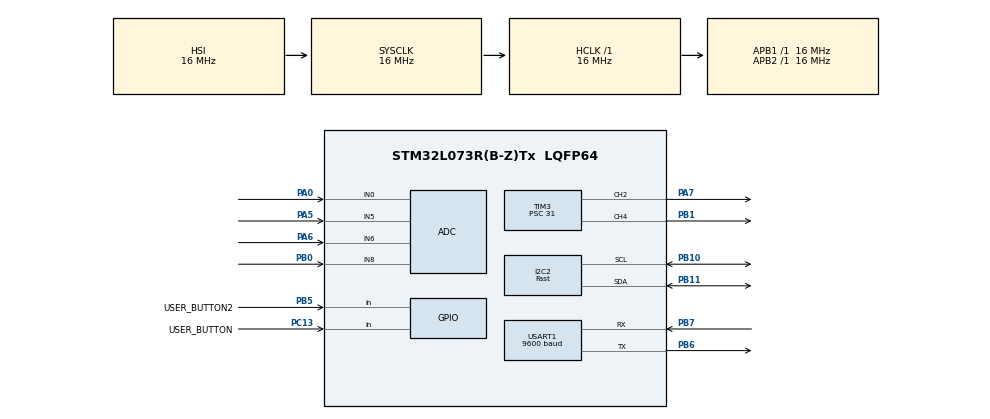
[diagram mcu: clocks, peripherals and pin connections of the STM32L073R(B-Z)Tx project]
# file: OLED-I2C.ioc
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ADC.ClockPrescaler=ADC_CLOCK_ASYNC_DIV1
ADC.DMAContinuousRequests=ENABLE
ADC.ExternalTrigConv=ADC_EXTERNALTRIGCONV_T2_TRGO
ADC.SamplingTime=ADC_SAMPLETIME_19CYCLES_5
Dma.ADC.1.Direction=DMA_PERIPH_TO_MEMORY
Dma.ADC.1.Instance=DMA1_Channel1
Dma.ADC.1.MemDataAlignment=DMA_MDATAALIGN_HALFWORD
Dma.ADC.1.MemInc=DMA_MINC_ENABLE
Dma.ADC.1.Mode=DMA_CIRCULAR
Dma.ADC.1.PeriphDataAlignment=DMA_PDATAALIGN_HALFWORD
Dma.ADC.1.PeriphInc=DMA_PINC_DISABLE
Dma.ADC.1.Priority=DMA_PRIORITY_LOW
Dma.I2C2_TX.0.Direction=DMA_MEMORY_TO_PERIPH
Dma.I2C2_TX.0.Instance=DMA1_Channel4
Dma.I2C2_TX.0.MemDataAlignment=DMA_MDATAALIGN_BYTE
Dma.I2C2_TX.0.MemInc=DMA_MINC_ENABLE
Dma.I2C2_TX.0.Mode=DMA_NORMAL
Dma.I2C2_TX.0.PeriphDataAlignment=DMA_PDATAALIGN_BYTE
Dma.I2C2_TX.0.PeriphInc=DMA_PINC_DISABLE
Dma.I2C2_TX.0.Priority=DMA_PRIORITY_VERY_HIGH
Dma.Request0=I2C2_TX
Dma.Request1=ADC
I2C2.I2C_Speed_Mode=I2C_Fast
I2C2.Timing=0x0010061A
Mcu.Family=STM32L0
Mcu.Name=STM32L073R(B-Z)Tx
Mcu.Package=LQFP64
NVIC.DMA1_Channel1_IRQn=true\:0\:0\:false\:false\:true\:false\:true\:true
NVIC.DMA1_Channel4_5_6_7_IRQn=true\:0\:0\:false\:false\:true\:false\:true\:true
NVIC.I2C2_IRQn=true\:0\:0\:false\:false\:true\:true\:true\:true
NVIC.TIM2_IRQn=true\:0\:0\:false\:false\:true\:true\:true\:true
NVIC.USART1_IRQn=true\:0\:0\:false\:false\:true\:true\:true\:true
PA0.Mode=IN0
PA0.Signal=ADC_IN0
PA13.Mode=Serial_Wire
PA13.Signal=SYS_SWDIO
PA14.Mode=Serial_Wire
PA14.Signal=SYS_SWCLK
PA5.Mode=IN5
PA5.Signal=ADC_IN5
PA6.Mode=IN6
PA6.Signal=ADC_IN6
PA7.Signal=S_TIM3_CH2
PB0.Mode=IN8
PB0.Signal=ADC_IN8
PB1.Signal=S_TIM3_CH4
PB10.Mode=I2C
PB10.Signal=I2C2_SCL
PB11.Mode=I2C
PB11.Signal=I2C2_SDA
PB5.GPIO_Label=USER_BUTTON2
PB5.Signal=GPIO_Input
PB6.Mode=Asynchronous
PB6.Signal=USART1_TX
PB7.Mode=Asynchronous
PB7.Signal=USART1_RX
PC13.GPIO_Label=USER_BUTTON
PC13.Signal=GPIO_Input
PH0-OSC_IN.Mode=HSE-External-Oscillator
PH0-OSC_IN.Signal=RCC_OSC_IN
PH1-OSC_OUT.Mode=HSE-External-Oscillator
PH1-OSC_OUT.Signal=RCC_OSC_OUT
ProjectManager.HeapSize=0x200
ProjectManager.StackSize=0x400
ProjectManager.TargetToolchain=STM32CubeIDE
RCC.AHBFreq_Value=16000000
RCC.APB1Freq_Value=16000000
RCC.APB1TimFreq_Value=16000000
RCC.APB2Freq_Value=16000000
RCC.APB2TimFreq_Value=16000000
RCC.HCLKFreq_Value=16000000
RCC.HSE_VALUE=8000000
RCC.HSI16_VALUE=16000000
RCC.HSI48_VALUE=48000000
RCC.HSI_VALUE=16000000
RCC.LSE_VALUE=32768
RCC.MSI_VALUE=2097000
RCC.SYSCLKFreq_VALUE=16000000
RCC.SYSCLKSource=RCC_SYSCLKSOURCE_HSI
RCC.VCOOutputFreq_Value=48000000
SH.S_TIM3_CH2.0=TIM3_CH2,PWM Generation2 CH2
SH.S_TIM3_CH4.0=TIM3_CH4,PWM Generation4 CH4
TIM2.Period=16000-1
TIM2.TIM_MasterOutputTrigger=TIM_TRGO_UPDATE
TIM3.Channel-PWM\ Generation2\ CH2=TIM_CHANNEL_2
TIM3.Channel-PWM\ Generation4\ CH4=TIM_CHANNEL_4
TIM3.Period=19999
TIM3.Prescaler=31
USART1.BaudRate=9600
USART1.VirtualMode-Asynchronous=VM_ASYNC
VP_TIM2_VS_ClockSourceINT.Mode=Internal
board=custom

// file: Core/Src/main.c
/* USER CODE BEGIN Header */
/**
  ******************************************************************************
  * @file           : main.c
  * @brief          : Main program body
  ******************************************************************************
  * @attention
  *
  * Copyright (c) 2024 STMicroelectronics.
  * All rights reserved.
  *
  * This software is licensed under terms that can be found in the LICENSE file
  * in the root directory of this software component.
  * If no LICENSE file comes with this software, it is provided AS-IS.
  *
  ******************************************************************************
  */

/*
 * -------------------------- METRYCZKA PROGRAMU -------------------------------
 *
 * Autor: Adam Szajgin | s319821 | Politechnika Warszawska | Wydzial Elektroniki i Technik Informacyjnych
 *
 * Nazwa: System pozycjonowania panela fotowoltaicznego z dwoma sposobami sterowania
 *
 * Opis:
 * - System pozycjonowania panela fotowoltaicznego jest programem wbudowanym napisanym w
 *   języku C dla mikrokontrolera STM32-L073RZT6.
 * - Program ten umożliwia sterowanie kątem położenia panela fotowoltaicznego w celu
 *   maksymalizacji pozyskiwanej energii ze światła słonecznego.
 * - Sterowanie odbywa się na podstawie odczytów z dzielników rezystancyjnych z
 *   fotorezystorami oraz sygnałów z telefonu zbieranych przez moduł Bluetooth HC-06.
 *
 *
 * Funkcjonalność:
 * 1. Algorytm Pozycjonowania Słonecznego:
 *    - Odczytuje wartości natężenia światła z czterech kanałów dzielników rezystancyjnych.
 *    - Na podstawie odczytanych wartości oblicza kąt położenia panela fotowoltaicznego w poziomie i pionie.
 *    - Zmienia kąt położenia panela w odpowiedzi na zmiany natężenia światła, tak aby maksymalizować
 *      pobieranie energii słonecznej.
 *    - Umożliwia nieblokujące opóźnienia dla zapewnienia odpowiedniego odstępu czasowego między operacjami.
 * 2. Sterowanie Ręczne:
 *    - Odbiera sygnały z telefonu przez interfejs Bluetooth HC-06.
 *    - Pozwala na manualne sterowanie kątem położenia panela fotowoltaicznego w poziomie i pionie na żądanie użytkownika.
 *    - Przekazuje otrzymane sygnały do odpowiednich funkcji sterujących.
 *
 *
 * Struktura:
 * - main.c: Główny plik programu, zawiera funkcję main() oraz konfiguracje mikrokontrolera.
 * - SolarPositioningAlgorithm.h/.c: Moduł implementujący algorytm pozycjonowania panela
 *   fotowoltaicznego na podstawie odczytów z dzielników rezystancyjnych.
 * - ManualSteering.h/.c: Moduł obsługujący sterowanie ręczne za pomocą sygnałów z telefonu przez Bluetooth.
 * - GFX.h: Moduł obsługujący wyświetlanie grafiki na ekranie OLED.
 * - DisplayManager.h/.c: Moduł zarządzający wyświetlaniem stanu i parametrów systemu na ekranie OLED.
 * - ADC.h: Konfiguracja i obsługa przetwornika analogowo-cyfrowego.
 * - DMA.h: Konfiguracja i obsługa kontrolera DMA.
 * - I2C.h: Konfiguracja i obsługa interfejsu I2C.
 * - TIM.h: Konfiguracja i obsługa liczników czasu.
 * - USART.h: Konfiguracja i obsługa interfejsu USART.
 * - GPIO.h: Konfiguracja i obsługa pinów GPIO.
 *
 * -------------------------- METRYCZKA PROGRAMU -------------------------------
 */

/* USER CODE END Header */
#include <dataStructs.h>
#include <systemStructs.h>
#include <SolarPositioningAlgorithm.h>
#include "main.h"
#include "adc.h"
#include "dma.h"
#include "i2c.h"
#include "tim.h"
#include "usart.h"
#include "gpio.h"

/* USER CODE BEGIN Includes */
#include "GFX.h"
#include "DisplayManager.h"
#include "ManualSteering.h"
#include "stdio.h"
#include "string.h"
#include "SolarAlgorithm.h"
#include "ServoManager.h"
/* USER CODE END Includes */

/* USER CODE BEGIN PM */

// Tablica przetrzmujaca dane zbierane z uzyciem DMA przez ADC z dzielnikow rezaystancyjnych z fotorezystorami
uint16_t AdcResultsArray[4];
// Struct do trzymania Adc Results
ADCResults adcResults;

/* USER CODE END PM */

/* USER CODE BEGIN PV */

// struct - otrzymywane przez HC-06 przesylana UART-em - pozniej dopasowywana do pozycji serw w biblitoece ManualSteering.c
SensorData sensorData;
// struct do trzymania katow serwomachnizmow
ServoAngles servoAngles;
// struct stan systemu - ktory algorytm pozycjonowania 1 - od swiatla, 2 - od bluetooth
SystemState systemState;

// zmienna do RX od HC-06 UART
uint8_t rxData;
/* USER CODE END PV */

void SystemClock_Config(void);

int main(void)
{

  /* MCU Configuration--------------------------------------------------------*/

  /* Reset of all peripherals, Initializes the Flash interface and the Systick. */
  HAL_Init();

  /* Configure the system clock */
  SystemClock_Config();

  /* Initialize all configured peripherals */
  MX_GPIO_Init();
  MX_DMA_Init();
  MX_TIM2_Init();
  MX_TIM3_Init();
  MX_USART1_UART_Init();
  MX_I2C2_Init();
  MX_ADC_Init();
  /* USER CODE BEGIN 2 */

  // INICIALIZACJA ZASOBOW PERYFERYJNYCH
  	  // Inicjalizacja ekranu OLED
  	  SSD1306_init();
  	  // Inicjalizacja timerow pod wysylanie sygnalow PWM do serwomechanizmow
  	  HAL_TIM_PWM_Start(&htim3, TIM_CHANNEL_2);
  	  HAL_TIM_PWM_Start(&htim3, TIM_CHANNEL_4);
  	  // Inicjalizacja UARTa pod odbieranie sygnalow z modulu bluetooth HC-06
  	  HAL_UART_Receive_IT(&huart1, &rxData,1);

  // INICJALIZACJA ZMIENNYCH
  	  // Stany odbierania sygnalow - dyktuje czy urzadzenie moze odbierac sygnaly
  	  // i wobec nich sie pozycjonowac (1) lub je ignotowac (0)
  	  systemState.receivingState = '0';
  	  // Stan pozycjonowania - alboo sterowanie swiatlem (1) albo sterownanie manualne - z telefonu
  	  systemState.positioningState = '1';
  	  // Zmienne katow pozycjonowania serwomechnizmow
  	  servoAngles.horizontalAngle = 900;
  	  servoAngles.verticalAngle = 924;

  /* USER CODE END 2 */

  /* Infinite loop */
  /* USER CODE BEGIN WHILE */

  // Start Timera do zbierania sygnalow z ADC
  HAL_TIM_Base_Start_IT(&htim2);
  // Start DMA pod zbieranie sygnalow z ADC
  //HAL_ADC_Start_DMA(&hadc, (uint32_t *)AdcResults, 4);
  HAL_ADC_Start_DMA(&hadc, (uint32_t *)AdcResultsArray, 4);
  while (1)
  {
    /* USER CODE END WHILE */
    /* USER CODE BEGIN 3 */
	  	 // Zmiana stanu urzadzenia po wcisnieciu przycisku
	  	 if (HAL_GPIO_ReadPin(USER_BUTTON2_GPIO_Port, USER_BUTTON2_Pin) != GPIO_PIN_RESET) {
	  	         togglePositioningState(systemState.stateMemory);
	  	 }
	  	 // Zmiana stanu urzadzenia
	  	 systemState.positioningState = displayState(systemState.stateMemory);
	  	 // Wyswietlenie stanu urzadzenia
	  	 displayParameters(systemState.positioningState, systemState.receivingState, 1, 1);

	     // Glowny switch case programu
	     switch (systemState.positioningState)
	     {
	         case '1':
	             // SolarAlgorithm - pozycjonowanie wobec swiatla
	        	 // zmiana stanu "odbierania" sygnalow z telefonu
	             systemState.receivingState = '0';

	        	 // przypisanie zczytanych z ADC wartosci do zmiennych okreslajacyh natezenie swiatla
	             adcResults.lux = (uint32_t)AdcResultsArray[0];
	             adcResults.lux1 = (uint32_t)AdcResultsArray[1];
	             adcResults.lux2 = (uint32_t)AdcResultsArray[2];
	             adcResults.lux3 = (uint32_t)AdcResultsArray[3];

	             // zwiekszenie lub zmniejszenie wartosci kata poziomego
	             servoAngles.horizontalAngle += compareAndSetHorizontalAngles(adcResults.lux, adcResults.lux1, adcResults.lux2, adcResults.lux3);
	             // sprawdzenie czy kat poziomy nie wykracza poza mechaniczny zakres
	             servoAngles.horizontalAngle = checkHorizontalAngleBounds(servoAngles.horizontalAngle);
	             // ustawienie serwomechanizmu na odpowiedni kat poziomy
	             setAngle(&htim3, TIM_CHANNEL_2 , servoAngles.horizontalAngle, 0);

	             // zwiekszenie lub zmniejszenie wartosci kata pionowego
	             servoAngles.verticalAngle += compareAndSetVerticalAngles(adcResults.lux, adcResults.lux1, adcResults.lux2, adcResults.lux3);
	             // sprawdzenie czy kat pionowy nie wykracza poza mechaniczny zakress
	             servoAngles.verticalAngle = checkVerticalAngleBounds(servoAngles.verticalAngle);
	             // ustawienie serwomechanizmu na odpowiedni kat pionowy
	             setAngle(&htim3, TIM_CHANNEL_4 , servoAngles.verticalAngle, 0);
	             break;

	         case '2':
	             // ManualSteering - pozycjonowanie wobec sygnalow z telefonu
	        	 // zmiana stanu "odbierania" sygnalow
	             systemState.receivingState = '1';
	             break;

	         default:
	        	 // Default by uniknac "niekontrolowanych" zmian stanu
	        	 // wywolanie funkcji przywracajacej stan poczatkowy - Agnles: 900; 900.
	        	 setDefault();
	        	 break;
	     }

  	  }
  /* USER CODE END 3 */
}

void SystemClock_Config(void)
{
  RCC_OscInitTypeDef RCC_OscInitStruct = {0};
  RCC_ClkInitTypeDef RCC_ClkInitStruct = {0};
  RCC_PeriphCLKInitTypeDef PeriphClkInit = {0};

  /** Configure the main internal regulator output voltage
  */
  __HAL_PWR_VOLTAGESCALING_CONFIG(PWR_REGULATOR_VOLTAGE_SCALE1);

  /** Initializes the RCC Oscillators according to the specified parameters
  * in the RCC_OscInitTypeDef structure.
  */
  RCC_OscInitStruct.OscillatorType = RCC_OSCILLATORTYPE_HSI;
  RCC_OscInitStruct.HSIState = RCC_HSI_ON;
  RCC_OscInitStruct.HSICalibrationValue = RCC_HSICALIBRATION_DEFAULT;
  RCC_OscInitStruct.PLL.PLLState = RCC_PLL_NONE;
  if (HAL_RCC_OscConfig(&RCC_OscInitStruct) != HAL_OK)
  {
    Error_Handler();
  }

  /** Initializes the CPU, AHB and APB buses clocks
  */
  RCC_ClkInitStruct.ClockType = RCC_CLOCKTYPE_HCLK|RCC_CLOCKTYPE_SYSCLK
                              |RCC_CLOCKTYPE_PCLK1|RCC_CLOCKTYPE_PCLK2;
  RCC_ClkInitStruct.SYSCLKSource = RCC_SYSCLKSOURCE_HSI;
  RCC_ClkInitStruct.AHBCLKDivider = RCC_SYSCLK_DIV1;
  RCC_ClkInitStruct.APB1CLKDivider = RCC_HCLK_DIV1;
  RCC_ClkInitStruct.APB2CLKDivider = RCC_HCLK_DIV1;

  if (HAL_RCC_ClockConfig(&RCC_ClkInitStruct, FLASH_LATENCY_0) != HAL_OK)
  {
    Error_Handler();
  }
  PeriphClkInit.PeriphClockSelection = RCC_PERIPHCLK_USART1;
  PeriphClkInit.Usart1ClockSelection = RCC_USART1CLKSOURCE_PCLK2;
  if (HAL_RCCEx_PeriphCLKConfig(&PeriphClkInit) != HAL_OK)
  {
    Error_Handler();
  }
}

/* USER CODE BEGIN 4 */

void HAL_UART_RxCpltCallback(UART_HandleTypeDef *huart) {
    if (huart->Instance == USART1) {
    	ManualSteering(rxData);
        HAL_UART_Receive_IT(&huart1, &rxData, 1); // Enable interrupt receive again
    }
}

/* USER CODE END 4 */

void Error_Handler(void)
{
  __disable_irq();
  while (1)
  {
  }
}
